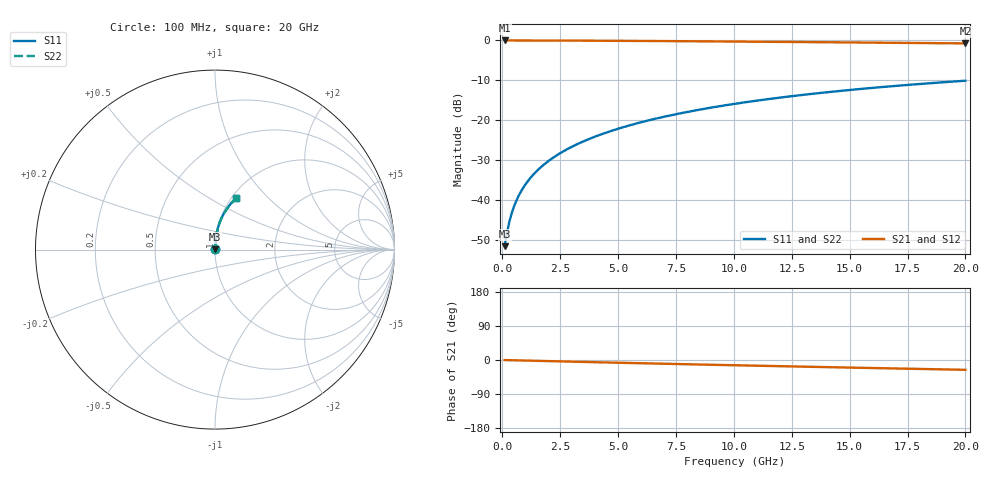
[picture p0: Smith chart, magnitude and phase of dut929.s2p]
! Touchstone file exported from HFSS 2024.1.0
!  File:  C:/UserFiles/LocalFiles/RDL_TSV_Batchsim/temp_RDL_bottom_929_1779941255.aedt
!  Generated:  12:10:30 PM May 28, 2026
!  Design:  RDL_bottom
!  Project:  temp_RDL_bottom_929_1779941255
!  Setup:  Setup1
!  Solution:  Sweep
! Variables:
!  dtsv = 10.80580581um
!  hbump = 3um
!  htsv = 59.44um
!  ldown = 291.93um
!  lrdl = 100um
!  p = 40
!  p1 = 57.79um
!  rhole = 1um
!  t = 450um
!  tdown = 3.12um
!  trdl = 3.915915916um
!  wdown = 17.87um
!  wrdl = 20um
# GHz S MA R 50.000000
! Terminal data exported
! Port[1] = RDL1_T1
! Port[2] = RDL1_T2
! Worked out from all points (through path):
!   200 points, 100 MHz to 20 GHz, reference 50 ohm
!   highest |S21| = -0.02 dB at 100 MHz (marker M1); lowest = -0.8 dB at 20 GHz (marker M2)
!   group delay of S21, straight-line fit = 3.57 ps
!   lowest |S11| = -51.7 dB at 100 MHz (marker M3), VSWR 1.01, Z = 50.2 + j0.161 ohm
!   |S11| at or under -10 dB: start of sweep to end of sweep
!   |S22| runs from -51.7 to -10.1 dB; largest |S21 - S12| = 2.9e-15
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0.1  0.002613 37.9  0.9979 -0.2  0.9979 -0.2  0.002613 37.9
! Gamma 0 0 0 0
! Port Impedance 50 0 50 0
0.2  0.003826 56.5  0.9979 -0.3  0.9979 -0.3  0.003826 56.5
0.3  0.005226 65.4  0.9978 -0.5  0.9978 -0.5  0.005226 65.4
0.4  0.006678 70.4  0.9977 -0.6  0.9977 -0.6  0.006678 70.4
0.5  0.008147 73.5  0.9976 -0.8  0.9976 -0.8  0.008147 73.5
0.6  0.009622 75.8  0.9975 -0.9  0.9975 -0.9  0.009622 75.8
0.8  0.01259 78.7  0.9973 -1.2  0.9973 -1.2  0.01259 78.7
1.1  0.01707 81.2  0.997 -1.6  0.997 -1.6  0.01707 81.2
1.5  0.0231 83.1  0.9965 -2.2  0.9965 -2.2  0.0231 83.1
1.8  0.02766 83.9  0.9961 -2.7  0.9961 -2.7  0.02766 83.9
2.1  0.03224 84.4  0.9956 -3.1  0.9956 -3.1  0.03224 84.4
2.7  0.04149 85.0  0.9944 -4.0  0.9944 -4.0  0.04149 85.0
3.5  0.05397 85.2  0.9924 -5.1  0.9924 -5.1  0.05396 85.2
4.2  0.06502 85.1  0.9904 -6.1  0.9904 -6.1  0.06502 85.1
5  0.0778 84.7  0.9878 -7.2  0.9878 -7.2  0.0778 84.7
5.9  0.09233 84.1  0.9845 -8.5  0.9845 -8.5  0.09233 84.1
6.8  0.107 83.3  0.981 -9.7  0.981 -9.7  0.107 83.3
8.4  0.1331 81.7  0.9744 -11.8  0.9744 -11.8  0.1331 81.7
10.1  0.1609 79.7  0.9669 -14.0  0.9669 -14.0  0.1609 79.7
13.4  0.2137 75.6  0.9512 -18.1  0.9512 -18.1  0.2136 75.6
16.7  0.2641 71.5  0.9344 -22.1  0.9344 -22.1  0.2641 71.5
20  0.3117 67.5  0.9166 -25.9  0.9166 -25.9  0.3117 67.5
